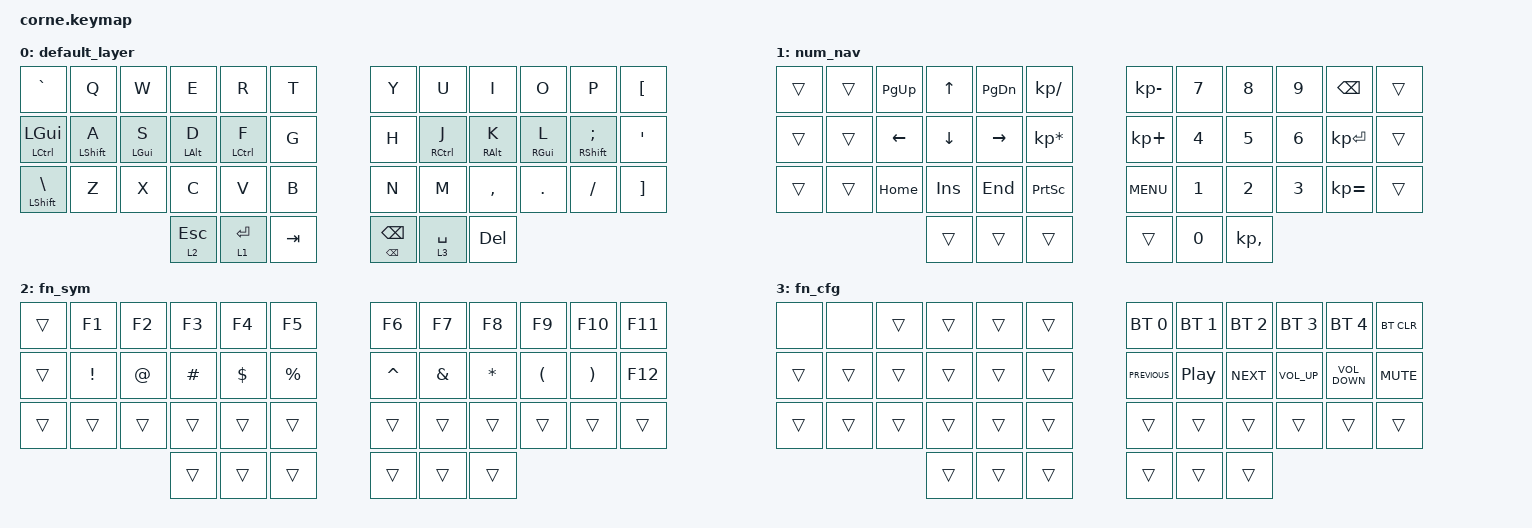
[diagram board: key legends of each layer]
/*
 * Copyright (c) 2020 The ZMK Contributors
 *
 * SPDX-License-Identifier: MIT
 * To use home rows - &hm LSHFT F
 */

#include <behaviors.dtsi>
#include <dt-bindings/zmk/bt.h>
#include <dt-bindings/zmk/keys.h>

#define QWERTY 0
#define NUMB 1
#define NAVI 2
#define ADJUST 3

/ {
    behaviors {
        hm: homerow_mods {
            compatible = "zmk,behavior-hold-tap";
            label = "HOMEROW_MODS";
            #binding-cells = <2>;
            tapping-term-ms = <150>;
            quick_tap_ms = <0>;
            flavor = "tap-preferred";
            bindings = <&kp>, <&kp>;
        };

        hml: hml {
            compatible = "zmk,behavior-hold-tap";
            label = "HML";
            bindings = <&kp>, <&kp>;

            #binding-cells = <2>;
            tapping-term-ms = <280>;
            quick-tap-ms = <150>;
            flavor = "balanced";
            hold-trigger-key-positions = <36 38 37 39 40 41 30 31 18 6 19 7 8 9 10 11 19 20 21 22 23 31 32 33 34 35>;
            hold-trigger-on-release;
        };

        hmr: hmr {
            compatible = "zmk,behavior-hold-tap";
            label = "HMR";
            bindings = <&kp>, <&kp>;

            #binding-cells = <2>;
            tapping-term-ms = <280>;
            quick-tap-ms = <150>;
            flavor = "balanced";
            hold-trigger-key-positions = <0 1 2 4 5 12 13 14 15 16 17 24 25 26 27 28 29 36 37 38 3 39 40 41>;
            hold-trigger-on-release;
        };
    };

    combos {
        compatible = "zmk,combos";

        minus {
            bindings = <&kp MINUS>;
            key-positions = <4 7>;
        };

        underscore {
            bindings = <&kp LS(MINUS)>;
            key-positions = <28 31>;
        };

        caps_word {
            bindings = <&caps_word>;
            key-positions = <25 34>;
        };

        equals {
            bindings = <&kp EQUAL>;
            key-positions = <17 18>;
        };

        sleep {
            bindings = <&kp LG(LC(Q))>;
            key-positions = <0 11>;
        };

        bottomesc {
            bindings = <&kp ESCAPE>;
            key-positions = <24 35>;
        };
    };

    keymap {
        compatible = "zmk,keymap";

        default_layer {
            // .--------------------------------------------------------------.       .-----------------------------------------------------------.
            // |   ESC        |    Q    |    W   |   E    |    R    |    T    |       |   Y   |    U    |    I    |    O    |     P    |    \     |
            // |--------------+---------+--------+--------+---------+---------|       |-------+---------+---------+---------+----------+----------|
            // |   CTRL/Tab   |    A    |    S   |   D    |    F    |    G    |       |   H   |    J    |    K    |    L    |     ;    |     '    |
            // |--------------+---------+--------+--------+---------+---------|       |-------+---------+---------+---------+----------+----------|
            // |   SHFT       |    Z    |    X   |   C    |    V    |    B    |       |   N   |    M    |    ,    |    .    |     /    | ` | ALT  |
            // '---------------------------------+--------+---------+---------+       |-------+---------+---------+-------------------------------'
            //                                   |  GUI   |   MO1   |   ENT   |       |  SPC  |   BKSP  |  CAPS   |
            //                                   '--------+---------+---------'       '-------+---------+---------'

            bindings = <
&kp GRAVE                 &kp Q         &kp W            &kp E         &kp R         &kp T      &kp Y                    &kp U         &kp I        &kp O        &kp P            &kp LEFT_BRACKET
&mt LCTRL LEFT_GUI        &hml LSHFT A  &hml LEFT_GUI S  &hml LALT D   &hml LCTRL F  &kp G      &kp H                    &hmr RCTRL J  &hmr RALT K  &hmr RGUI L  &hmr RSHFT SEMI  &kp SQT
&mt LEFT_SHIFT BACKSLASH  &kp Z         &kp X            &kp C         &kp V         &kp B      &kp N                    &kp M         &kp COMMA    &kp DOT      &kp FSLH         &kp RIGHT_BRACKET
                                                         &lt 2 ESCAPE  &lt 1 ENTER   &kp TAB    &mt BACKSPACE BACKSPACE  &lt 3 SPACE   &kp DELETE
            >;
        };

        num_nav {
            bindings = <
&trans  &trans  &kp PAGE_UP     &kp UP_ARROW    &kp PAGE_DOWN    &kp KP_SLASH       &kp KP_MINUS  &kp N7        &kp N8        &kp N9        &kp BACKSPACE  &trans
&trans  &trans  &kp LEFT_ARROW  &kp DOWN_ARROW  &kp RIGHT_ARROW  &kp KP_MULTIPLY    &kp KP_PLUS   &kp NUMBER_4  &kp N5        &kp NUMBER_6  &kp KP_ENTER   &trans
&trans  &trans  &kp HOME        &kp INSERT      &kp END          &kp PRINTSCREEN    &kp K_MENU    &kp NUMBER_1  &kp NUMBER_2  &kp NUMBER_3  &kp KP_EQUAL   &trans
                                &trans          &trans           &trans             &trans        &kp N0        &kp KP_COMMA
            >;
        };

        fn_sym {
            // .----------------------------------------------------------------.       .-----------------------------------------------------------------.
            // |   CMD+SHIFT+4  |       |   PU   |   UP   |    PD    |   HOME   |       |  HOME   |    PU    |    UP   |   PD    |          | CMD+SHIFT+4 |
            // |----------------+-------+--------+--------+----------+----------|       |---------+----------+---------+---------+----------+-------------|
            // |                |       |  LEFT  |  DOWN  |   RIGHT  |   END    |       |  END    |   LEFT   |   DOWN  |  RIGHT  |          |             |
            // |----------------+-------+--------+--------+----------+----------|       |---------+----------+---------+---------+----------+-------------|
            // |     OUT_TOG    |       |        |        |CTRL+LEFT |CTRL+RIGHT|       |CTRL+LEFT|CTRL+RIGHT|         |         |          |   OUT_TOG   |
            // '---------------------------------+--------+----------+----------+       |---------+----------+---------+----------------------------------'
            //                                   |  GUI   |   MO3    |          |       |         |          |         |
            //                                   '--------+----------+----------'       '---------+----------+---------'

            bindings = <
&trans  &kp F1           &kp F2       &kp F3    &kp F4      &kp F5         &kp F6     &kp F7         &kp F8        &kp F9                &kp F10                &kp F11
&trans  &kp EXCLAMATION  &kp AT_SIGN  &kp HASH  &kp DOLLAR  &kp PERCENT    &kp CARET  &kp AMPERSAND  &kp ASTERISK  &kp LEFT_PARENTHESIS  &kp RIGHT_PARENTHESIS  &kp F12
&trans  &trans           &trans       &trans    &trans      &trans         &trans     &trans         &trans        &trans                &trans                 &trans
                                      &trans    &trans      &trans         &trans     &trans         &trans
            >;
        };

        fn_cfg {
            bindings = <
&none   &none   &trans  &trans  &trans  &trans    &bt BT_SEL 0    &bt BT_SEL 1      &bt BT_SEL 2  &bt BT_SEL 3     &bt BT_SEL 4       &bt BT_CLR
&trans  &trans  &trans  &trans  &trans  &trans    &kp C_PREVIOUS  &kp C_PLAY_PAUSE  &kp C_NEXT    &kp C_VOLUME_UP  &kp C_VOLUME_DOWN  &kp K_MUTE
&trans  &trans  &trans  &trans  &trans  &trans    &trans          &trans            &trans        &trans           &trans             &trans
                        &trans  &trans  &trans    &trans          &trans            &trans
            >;
        };
    };
};
